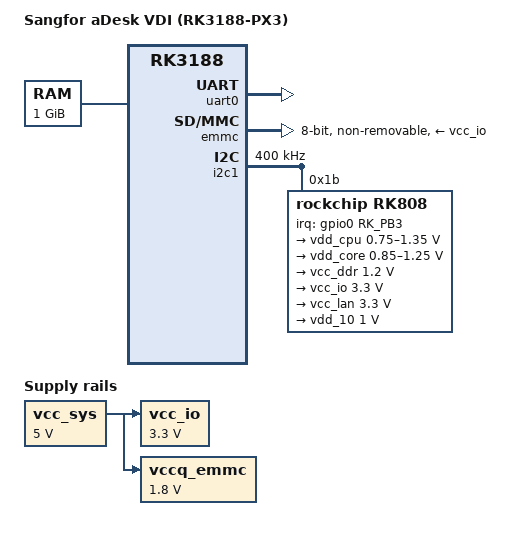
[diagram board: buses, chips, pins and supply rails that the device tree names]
// SPDX-License-Identifier: (GPL-2.0+ OR MIT)
/dts-v1/;
#include "rk3188.dtsi"

/ {
    model = "Sangfor aDesk VDI (RK3188-PX3)";
    compatible = "sangfor,adesk-vdi", "rockchip,rk3188";

    chosen {
        stdout-path = "serial0:115200n8";
        bootargs = "console=ttyFIQ0,115200 earlycon=uart8250,mmio32,0x20064000,115200 root=/dev/mmcblk0p2 rootfstype=ext4 rootwait";
    };

    memory@60000000 {
        device_type = "memory";
        reg = <0x60000000 0x40000000>; /* 1GB DDR3 */
    };

    aliases {
        serial0 = &uart0;
        mmc0 = &emmc;
    };

    vcc_sys: vsys-regulator {
        compatible = "regulator-fixed";
        regulator-name = "vcc_sys";
        regulator-min-microvolt = <5000000>;
        regulator-max-microvolt = <5000000>;
        regulator-always-on;
        regulator-boot-on;
        u-boot,dm-pre-reloc;
    };

    vcc_io: vcc-io-regulator {
        compatible = "regulator-fixed";
        regulator-name = "vcc_io";
        regulator-min-microvolt = <3300000>;
        regulator-max-microvolt = <3300000>;
        regulator-always-on;
        regulator-boot-on;
        u-boot,dm-pre-reloc;
        vin-supply = <&vcc_sys>;
    };

    vccq_emmc: emmc-vccq-regulator {
        compatible = "regulator-fixed";
        regulator-name = "vccq_emmc";
        regulator-min-microvolt = <1800000>;
        regulator-max-microvolt = <1800000>;
        u-boot,dm-pre-reloc;
        vin-supply = <&vcc_sys>;
    };
};

&uart0 {
    status = "okay";
    u-boot,dm-pre-reloc;
    pinctrl-0 = <&uart0_xfer>;
    pinctrl-names = "default";
};

&emmc {
    status = "okay";
    u-boot,dm-pre-reloc;
    bus-width = <8>;
    cap-mmc-highspeed;
    non-removable;
    vmmc-supply = <&vcc_io>;
    vqmmc-supply = <&vccq_emmc>;
};

&i2c1 {
    status = "okay";
    clock-frequency = <400000>;
    u-boot,dm-pre-reloc;
    pinctrl-0 = <&i2c1_xfer>;
    pinctrl-names = "default";

    rk808: pmic@1b {
        compatible = "rockchip,rk808";
        reg = <0x1b>;
        interrupt-parent = <&gpio0>;
        interrupts = <RK_PB3 IRQ_TYPE_LEVEL_LOW>;
        u-boot,dm-pre-reloc;
        rockchip,system-power-controller;
        wakeup-source;

        regulators {
            vdd_cpu: DCDC_REG1 {
                regulator-name = "vdd_cpu";
                regulator-min-microvolt = <750000>;
                regulator-max-microvolt = <1350000>;
                regulator-always-on;
                regulator-boot-on;
                u-boot,dm-pre-reloc;
            };
            vdd_core: DCDC_REG2 {
                regulator-name = "vdd_core";
                regulator-min-microvolt = <850000>;
                regulator-max-microvolt = <1250000>;
                regulator-always-on;
                regulator-boot-on;
                u-boot,dm-pre-reloc;
            };
            vcc_ddr: DCDC_REG3 {
                regulator-name = "vcc_ddr";
                regulator-min-microvolt = <1200000>;
                regulator-max-microvolt = <1200000>;
                regulator-always-on;
                regulator-boot-on;
                u-boot,dm-pre-reloc;
            };
            DCDC_REG4 {
                regulator-name = "vcc_io";
                regulator-min-microvolt = <3300000>;
                regulator-max-microvolt = <3300000>;
                regulator-always-on;
                regulator-boot-on;
                u-boot,dm-pre-reloc;
            };
            vcc_lan: LDO_REG1 {
                regulator-name = "vcc_lan";
                regulator-min-microvolt = <3300000>;
                regulator-max-microvolt = <3300000>;
                regulator-always-on;
                regulator-boot-on;
                u-boot,dm-pre-reloc;
            };
            vdd_10: LDO_REG3 {
                regulator-name = "vdd_10";
                regulator-min-microvolt = <1000000>;
                regulator-max-microvolt = <1000000>;
                regulator-always-on;
                regulator-boot-on;
                u-boot,dm-pre-reloc;
            };
        };
    };
};
